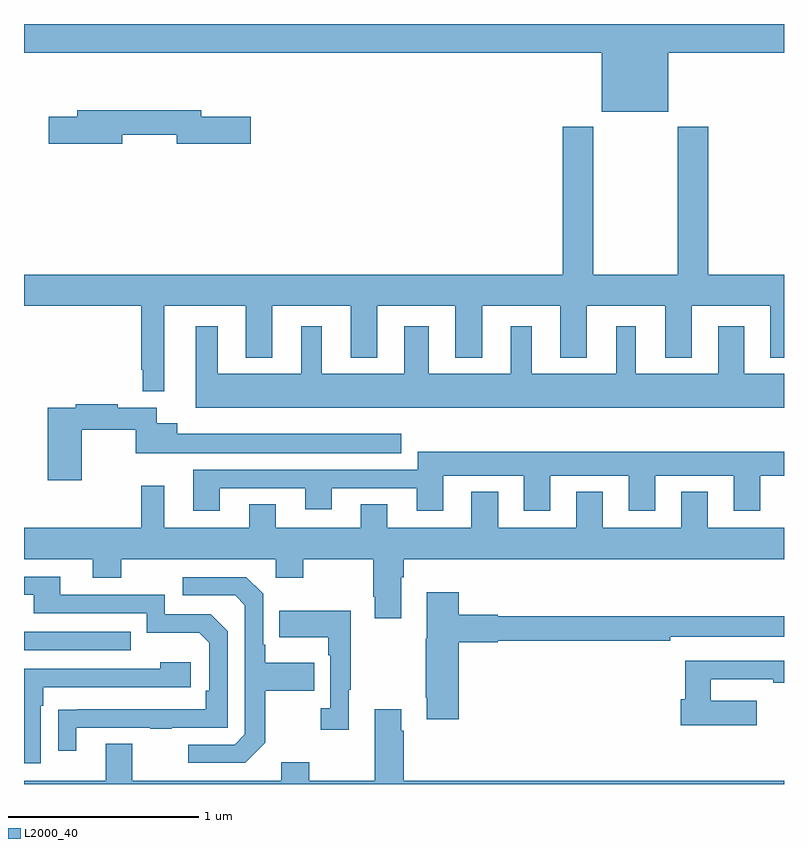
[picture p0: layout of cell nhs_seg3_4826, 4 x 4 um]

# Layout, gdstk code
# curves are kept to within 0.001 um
import gdstk
lib = gdstk.Library(unit=1e-6, precision=1e-09)
def R(c, l, rs):  # rectangles x0, y0, x1, y1
    for r in rs: c.add(gdstk.rectangle(r[:2], r[2:], *l))
def P(c, l, *ps):  # polygons
    for p in ps: c.add(gdstk.Polygon(p, *l))
L2000_40 = (2000, 40)

nhs_seg3_4826 = lib.new_cell('nhs_seg3_4826')
R(nhs_seg3_4826, L2000_40, [(371,699.105,371.561,699.201)])
P(nhs_seg3_4826, L2000_40, [(371,702.248),(374.042,702.248),(374.042,701.939),(374.392,701.939),(374.392,702.248),(375,702.248),(375,702.4),(371,702.4)],
  [(371.518,701.818),(371.804,701.818),(371.804,701.771),(372.193,701.771),(372.193,701.913),(371.932,701.913),(371.932,701.947),(371.279,701.947),(371.279,701.913),(371.13,701.913),(371.13,701.771),(371.518,701.771)],
  [(371.737,700.916),(372.167,700.916),(372.167,700.643),(372.307,700.643),(372.307,700.916),(372.719,700.916),(372.719,700.643),(372.859,700.643),(372.859,700.916),(373.271,700.916),(373.271,700.643),(373.411,700.643),(373.411,700.916),(373.823,700.916),(373.823,700.643),(373.963,700.643),(373.963,700.916),(374.375,700.916),(374.375,700.643),(374.515,700.643),(374.515,700.916),(374.927,700.916),(374.927,700.643),(375,700.643),(375,701.08),(374.6,701.08),(374.6,701.86),(374.44,701.86),(374.44,701.08),(373.995,701.08),(373.995,701.86),(373.835,701.86),(373.835,701.08),(371,701.08),(371,700.916),(371.616,700.916),(371.616,700.579),(371.624,700.579),(371.624,700.467),(371.737,700.467)],
  [(375,700.558),(374.791,700.558),(374.791,700.81),(374.654,700.81),(374.654,700.558),(374.221,700.558),(374.221,700.81),(374.117,700.81),(374.117,700.558),(373.672,700.558),(373.672,700.81),(373.562,700.81),(373.562,700.558),(373.129,700.558),(373.129,700.81),(373.001,700.81),(373.001,700.558),(372.568,700.558),(372.568,700.81),(372.458,700.81),(372.458,700.558),(372.019,700.558),(372.019,700.81),(371.903,700.81),(371.903,700.379),(375,700.379)],
  [(371.304,700.264),(371.589,700.264),(371.589,700.142),(372.985,700.142),(372.985,700.243),(371.806,700.243),(371.806,700.3),(371.699,700.3),(371.699,700.38),(371.494,700.38),(371.494,700.4),(371.272,700.4),(371.272,700.38),(371.126,700.38),(371.126,699.999),(371.304,699.999)],
  [(372.031,699.957),(372.479,699.957),(372.479,699.845),(372.619,699.845),(372.619,699.957),(373.067,699.957),(373.067,699.837),(373.207,699.837),(373.207,700.022),(373.631,700.022),(373.631,699.837),(373.771,699.837),(373.771,700.022),(374.183,700.022),(374.183,699.837),(374.323,699.837),(374.323,700.022),(374.735,700.022),(374.735,699.837),(374.875,699.837),(374.875,700.022),(375,700.022),(375,700.15),(373.073,700.15),(373.073,700.053),(371.891,700.053),(371.891,699.837),(372.031,699.837)],
  [(372.985,699.488),(372.998,699.488),(372.998,699.584),(375,699.584),(375,699.748),(374.599,699.748),(374.599,699.937),(374.459,699.937),(374.459,699.748),(374.047,699.748),(374.047,699.937),(373.907,699.937),(373.907,699.748),(373.495,699.748),(373.495,699.937),(373.355,699.937),(373.355,699.748),(372.913,699.748),(372.913,699.872),(372.773,699.872),(372.773,699.748),(372.325,699.748),(372.325,699.872),(372.185,699.872),(372.185,699.748),(371.737,699.748),(371.737,699.97),(371.616,699.97),(371.616,699.748),(371,699.748),(371,699.584),(371.363,699.584),(371.363,699.485),(371.511,699.485),(371.511,699.584),(372.324,699.584),(372.324,699.485),(372.471,699.485),(372.471,699.584),(372.838,699.584),(372.838,699.385),(372.845,699.385),(372.845,699.273),(372.985,699.273)],
  [(371.275,698.697),(371.665,698.697),(371.665,698.692),(371.777,698.692),(371.777,698.697),(372.072,698.697),(372.072,699.204),(371.982,699.294),(371.742,699.294),(371.742,699.396),(371.191,699.396),(371.191,699.492),(371,699.492),(371,699.396),(371.051,699.396),(371.051,699.3),(371.646,699.3),(371.646,699.197),(371.923,699.197),(371.976,699.144),(371.976,698.89),(371.956,698.89),(371.956,698.793),(371.179,698.792),(371.179,698.574),(371.275,698.574)],
  [(372.271,698.617),(372.271,698.89),(372.527,698.89),(372.527,699.037),(372.271,699.037),(372.271,699.133),(372.258,699.133),(372.258,699.402),(372.171,699.489),(371.835,699.489),(371.835,699.393),(372.111,699.393),(372.162,699.342),(372.162,698.661),(372.108,698.607),(371.865,698.607),(371.865,698.511),(372.165,698.511)],
  [(373.289,699.146),(373.494,699.146),(373.494,699.154),(374.402,699.154),(374.402,699.174),(375,699.174),(375,699.283),(373.494,699.283),(373.494,699.291),(373.289,699.291),(373.289,699.409),(373.121,699.409),(373.121,699.165),(373.114,699.165),(373.114,698.854),(373.121,698.854),(373.121,698.742),(373.289,698.742)],
  [(372.709,698.897),(372.721,698.897),(372.721,699.313),(372.343,699.313),(372.343,699.173),(372.6,699.173),(372.6,699.077),(372.612,699.077),(372.612,698.798),(372.561,698.798),(372.561,698.685),(372.709,698.685)],
  [(374.857,698.839),(374.615,698.839),(374.615,698.952),(374.944,698.952),(374.944,698.932),(375,698.932),(375,699.048),(374.479,699.048),(374.479,698.847),(374.456,698.847),(374.456,698.71),(374.857,698.71)],
  [(371.088,698.813),(371.101,698.813),(371.101,698.91),(371.878,698.91),(371.878,699.04),(371.717,699.04),(371.717,699.006),(371,699.006),(371,698.508),(371.088,698.508)],
  [(375,698.416),(372.998,698.416),(372.998,698.681),(372.985,698.681),(372.985,698.794),(372.845,698.794),(372.845,698.416),(372.501,698.416),(372.501,698.515),(372.353,698.515),(372.353,698.416),(371.569,698.416),(371.569,698.611),(371.429,698.611),(371.429,698.416),(371,698.416),(371,698.4),(375,698.4)])

lib.write_gds('nhs_seg3_4826.gds')
